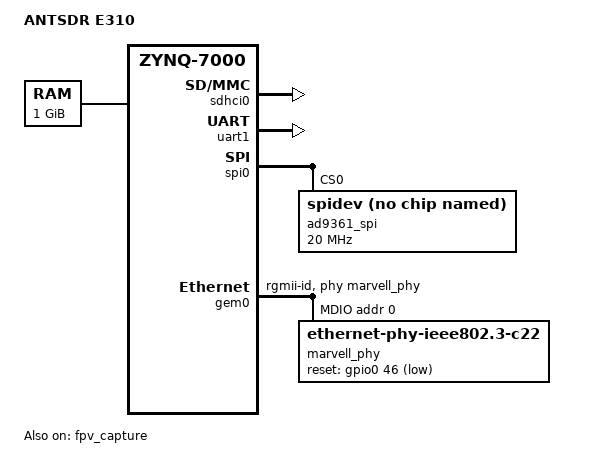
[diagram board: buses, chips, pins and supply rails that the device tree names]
// Original ANTSDR E310: PS GEM0 MIO16..27, MDIO MIO52/53, UART1 MIO12/13.
/ {
	model = "ANTSDR E310";
	compatible = "microphase,antsdr-e310", "xlnx,zynq-7000";

	chosen {
		bootargs = "console=ttyPS1,115200 earlycon=cdns,mmio,0xe0001000 root=/dev/ram rw cma=128M";
		stdout-path = "serial1:115200n8";
	};

	aliases {
		ethernet0 = &gem0;
		serial0 = &uart0;
		serial1 = &uart1;
		mmc0 = &sdhci0;
		spi0 = &spi0;
		spi1 = &qspi;
	};

	// DTG emits an unqualified memory node; replace it, avoiding overlapping banks.
	/delete-node/ memory;
	// ant reference: 32-bit MT41J256M16 RE-125 DDR, 1 GiB total.
	memory@0 {
		device_type = "memory";
		reg = <0x0 0x40000000>;
	};
};

&sdhci0 {
	status = "okay";
	disable-wp;
};

&uart0 { status = "disabled"; };
&uart1 { status = "okay"; };

&spi0 {
	status = "okay";
	num-cs = <1>;
	is-decoded-cs = <0>;
	#address-cells = <1>;
	#size-cells = <0>;

	// spidev0.0 is the userspace no-OS transport; no kernel AD9361/IIO node.
	// Controller offsets reset100, sync99, en_agc98, ctl94, status86;
	// RX switches54/55/58/59 are owned by the app (LVDS E310 reference).
	ad9361_spi: ad9361@0 {
		compatible = "rohm,dh2228fv";
		reg = <0>;
		spi-max-frequency = <20000000>;
	};
};

&gpio0 { status = "okay"; };
&clkc { fclk-enable = <0xf>; };

// Direct MIO RGMII link: there is no PL GMII/RGMII converter.
&gem0 {
	status = "okay";
	phy-mode = "rgmii-id";
	phy-handle = <&marvell_phy>;
	#address-cells = <1>;
	#size-cells = <0>;

	mdio {
		#address-cells = <1>;
		#size-cells = <0>;
		marvell_phy: ethernet-phy@0 {
			compatible = "ethernet-phy-ieee802.3-c22";
			reg = <0>;
			reset-gpios = <&gpio0 46 1>; // MIO46, active low
			reset-assert-us = <10000>;
			reset-deassert-us = <10000>;
		};
	};
};

/ {
	// Keep the shared capture ABI and AXI map. DMA/IRQ come from the XSA.
	fpv_capture: fpv-capture@43c30000 {
		compatible = "fpv,e200-capture-1.0";
		reg = <0x43c30000 0x10000>;
		dmas = <&fpv_dma 1>; // S2MM
		dma-names = "rx";
		status = "okay";
	};
};
